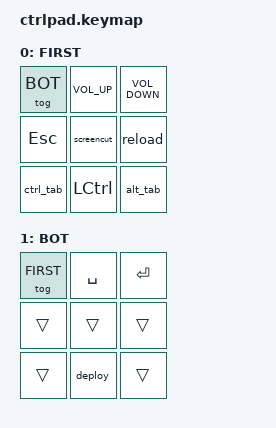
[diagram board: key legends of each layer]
/*
 * Copyright (c) 2020 The ZMK Contributors
 *
 * SPDX-License-Identifier: MIT
 */

#include <behaviors.dtsi>
#include <dt-bindings/zmk/keys.h>
#include <dt-bindings/zmk/bt.h>

/ {
    keymap {
        compatible = "zmk,keymap";

        first {
            display-name = "FIRST";
// -------------------
// |  1L  |  VOL_UP  |  VOL_DOWN  |
// |  ESC  |  SCREENCUT  |  RELOAD  |
// |  CTRL_TAB  |  LCTRL  |  ALT_TAB  |
// ----------------------
            bindings = <
    &tog BOT &kp C_VOL_UP &kp C_VOL_DOWN
    &kp ESC &screencut &reload 
    &ctrl_tab  &kp LCTRL &alt_tab
            >;
        };

        bot {
            display-name = "BOT";
// -----------------------
// |  0L  |  SPACE  |  ENTER  |
// |  ESC  |   SCREENCUT  |  RELOAD  |
// |  CTRL_TAB  |  DEPLOY  |  ALT_TAB  |
// -----------------------
            bindings = <
    &tog FIRST &kp SPACE &kp ENTER
    &trans &trans  &trans
    &trans &deploy   &trans
            >;
        };
    };
};

